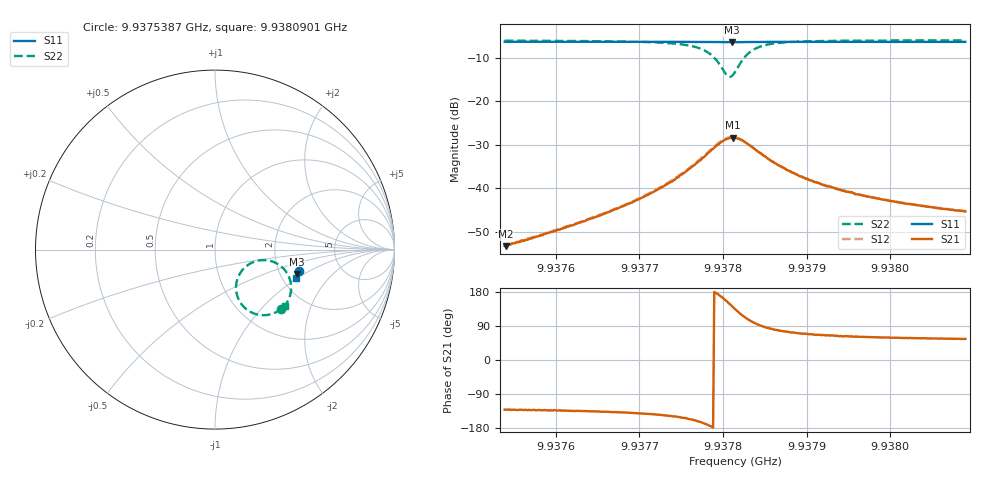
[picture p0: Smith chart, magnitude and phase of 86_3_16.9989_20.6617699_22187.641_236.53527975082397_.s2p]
#  HZ  S  RI  R  50.00
! Rohde & Schwarz Vector Network Analyzer
! Rohde-Schwarz,ZNB20-2Port,1311601062101988,3.16
! Created: UTC 3/20/2024, 10:55:56 PM
! freq[Hz]  re:S11  im:S11  re:S21  im:S21  re:S12  im:S12  re:S22  im:S22
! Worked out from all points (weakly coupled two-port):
!   401 points, 9.9375387 GHz to 9.9380901 GHz, reference 50 ohm
!   highest |S21| = -28.38 dB at 9.9378117 GHz (marker M1); lowest = -53.3 dB at 9.9375401 GHz (marker M2)
!   lowest |S11| = -6.4 dB at 9.9378103 GHz (marker M3), VSWR 2.82, Z = 123 - j43.7 ohm
!   |S11| at or under -10 dB: nowhere
!   |S22| runs from -14.4 to -6.0 dB; largest |S21 - S12| = 0.002
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9.9375387e9  0.4667 -0.1218  -0.00142 -0.00164  -0.00148 -0.00164  0.3703 -0.3292
9.93754008e9  0.4668 -0.1218  -0.00143 -0.00162  -0.00149 -0.00163  0.3702 -0.3293
9.93763106e9  0.4646 -0.1282  -0.00288 -0.00292  -0.00298 -0.0029  0.3524 -0.3423
9.93768896e9  0.463 -0.132  -0.00511 -0.00438  -0.0053 -0.00441  0.3297 -0.3539
9.93772343e9  0.4619 -0.1346  -0.00802 -0.00574  -0.0083 -0.0057  0.3029 -0.3621
9.93775514e9  0.4605 -0.137  -0.0138 -0.00696  -0.0143 -0.00674  0.2526 -0.3647
9.93777581e9  0.459 -0.1383  -0.0218 -0.00555  -0.0224 -0.00517  0.1898 -0.3425
9.93778822e9  0.4579 -0.1388  -0.0284 -0.000754  -0.0294 5.1e-05  0.1405 -0.2939
9.93779787e9  0.457 -0.1385  -0.0331 0.0074  -0.0336 0.00889  0.1173 -0.2192
9.93780476e9  0.4566 -0.1379  -0.0333 0.016  -0.0334 0.0178  0.1302 -0.1501
9.93781028e9  0.4564 -0.1375  -0.0305 0.0228  -0.0298 0.0245  0.1654 -0.1003
9.93781166e9  0.4566 -0.1373  -0.0293 0.0244  -0.0287 0.026  0.1773 -0.0902
9.93781442e9  0.4568 -0.137  -0.0267 0.0271  -0.0257 0.0286  0.2032 -0.074
9.93782131e9  0.4575 -0.137  -0.0186 0.0308  -0.0174 0.032  0.2724 -0.0585
9.9378282e9  0.4582 -0.1372  -0.0113 0.0312  -0.00986 0.0317  0.3308 -0.0706
9.93784337e9  0.4591 -0.1385  -0.00103 0.0257  -0.000169 0.0259  0.3999 -0.1288
9.93785853e9  0.4594 -0.1399  0.00274 0.0202  0.00332 0.0201  0.4205 -0.1785
9.93787645e9  0.4591 -0.1416  0.00427 0.0156  0.00464 0.0156  0.4244 -0.2172
9.93790678e9  0.4585 -0.1441  0.00457 0.0113  0.00484 0.0112  0.4188 -0.2539
9.93795917e9  0.4573 -0.1479  0.00411 0.0075  0.00425 0.00755  0.4072 -0.284
9.93799914e9  0.4563 -0.1508  0.00371 0.00615  0.00385 0.00614  0.3999 -0.2967
9.93809013e9  0.4538 -0.1567  0.00305 0.00447  0.00317 0.00447  0.3882 -0.3134
